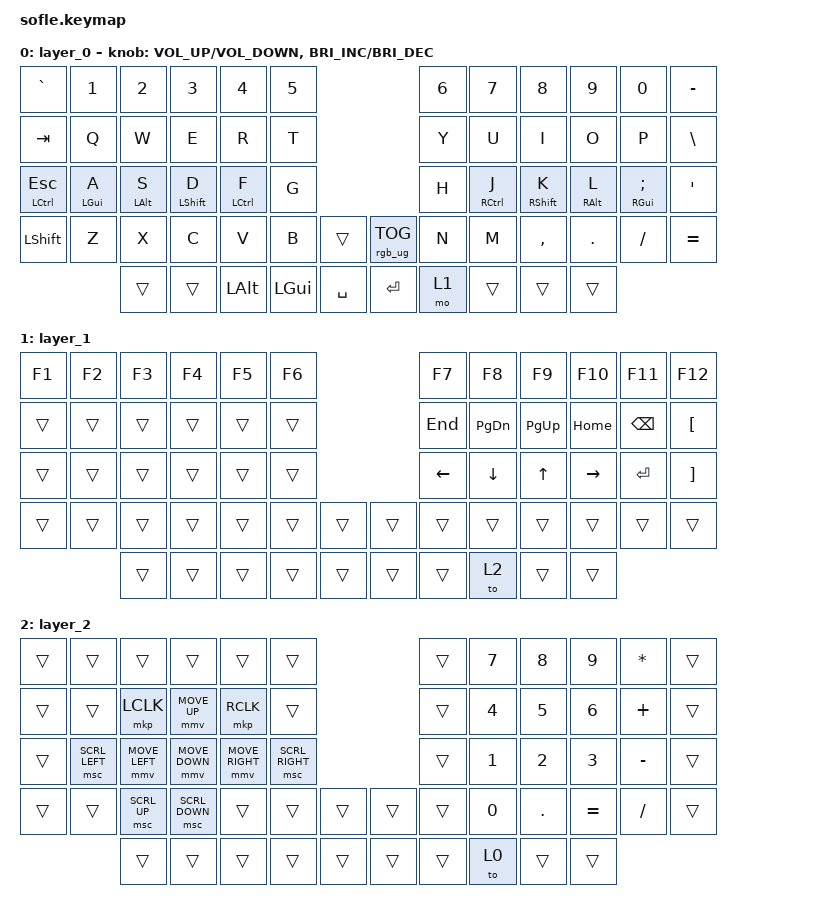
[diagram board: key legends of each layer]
/*
 * Copyright (c) 2020 The ZMK Contributors
 *
 * SPDX-License-Identifier: MIT
 */

#include <behaviors.dtsi>
#include <dt-bindings/zmk/bt.h>
#include <dt-bindings/zmk/rgb.h>
#include <dt-bindings/zmk/backlight.h>
#include <dt-bindings/zmk/ext_power.h>
#include <dt-bindings/zmk/keys.h>
#include <dt-bindings/zmk/outputs.h>
#include <dt-bindings/zmk/pointing.h>

/ {
    behaviors {
        hml: hml {
            compatible = "zmk,behavior-hold-tap";
            label = "HML";
            bindings = <&kp>, <&kp>;

            #binding-cells = <2>;
            tapping-term-ms = <180>;
            quick-tap-ms = <100>;
            flavor = "balanced";
            hold-trigger-on-release;
            require-prior-idle-ms = <120>;
        };

        hmr: hmr {
            compatible = "zmk,behavior-hold-tap";
            label = "HMR";
            bindings = <&kp>, <&kp>;

            #binding-cells = <2>;
            tapping-term-ms = <180>;
            quick-tap-ms = <100>;
            flavor = "balanced";
            hold-trigger-on-release;
            require-prior-idle-ms = <120>;
        };
    };

    keymap {
        compatible = "zmk,keymap";

        layer_0 {
            bindings = <
&kp GRAVE          &kp N1           &kp N2           &kp N3             &kp N4               &kp N5                                  &kp N6  &kp N7                &kp N8              &kp N9            &kp N0               &kp MINUS
&kp TAB            &kp Q            &kp W            &kp E              &kp R                &kp T                                   &kp Y   &kp U                 &kp I               &kp O             &kp P                &kp BSLH
&hml LCTRL ESCAPE  &hml LEFT_GUI A  &hml LEFT_ALT S  &hml LEFT_SHIFT D  &hml LEFT_CONTROL F  &kp G                                   &kp H   &hmr RIGHT_CONTROL J  &hmr RIGHT_SHIFT K  &hmr RIGHT_ALT L  &hmr RIGHT_GUI SEMI  &kp APOS
&kp LSHFT          &kp Z            &kp X            &kp C              &kp V                &kp B     &trans       &rgb_ug RGB_TOG  &kp N   &kp M                 &kp COMMA           &kp DOT           &kp FSLH             &kp EQUAL
                                    &trans           &trans             &kp LALT             &kp LGUI  &kp SPACE    &kp ENTER        &mo 1   &trans                &trans              &trans
            >;

            sensor-bindings =
                <&inc_dec_kp C_VOLUME_UP C_VOLUME_DOWN>,
                <&inc_dec_kp C_BRI_INC C_BRI_DEC>;
        };

        layer_1 {
            bindings = <
&kp F1  &kp F2  &kp F3  &kp F4  &kp F5  &kp F6                    &kp F7    &kp F8         &kp F9       &kp F10    &kp F11        &kp F12
&trans  &trans  &trans  &trans  &trans  &trans                    &kp END   &kp PAGE_DOWN  &kp PAGE_UP  &kp HOME   &kp BACKSPACE  &kp LBKT
&trans  &trans  &trans  &trans  &trans  &trans                    &kp LEFT  &kp DOWN       &kp UP       &kp RIGHT  &kp ENTER      &kp RBKT
&trans  &trans  &trans  &trans  &trans  &trans  &trans    &trans  &trans    &trans         &trans       &trans     &trans         &trans
                &trans  &trans  &trans  &trans  &trans    &trans  &trans    &to 2          &trans       &trans
            >;
        };

        layer_2 {
            bindings = <
&trans  &trans          &trans          &trans          &trans           &trans                             &trans  &kp N7  &kp N8   &kp N9     &kp STAR   &trans
&trans  &trans          &mkp LCLK       &mmv MOVE_UP    &mkp RCLK        &trans                             &trans  &kp N4  &kp N5   &kp N6     &kp PLUS   &trans
&trans  &msc SCRL_LEFT  &mmv MOVE_LEFT  &mmv MOVE_DOWN  &mmv MOVE_RIGHT  &msc SCRL_RIGHT                    &trans  &kp N1  &kp N2   &kp N3     &kp MINUS  &trans
&trans  &trans          &msc SCRL_UP    &msc SCRL_DOWN  &trans           &trans           &trans    &trans  &trans  &kp N0  &kp DOT  &kp EQUAL  &kp FSLH   &trans
                        &trans          &trans          &trans           &trans           &trans    &trans  &trans  &to 0   &trans   &trans
            >;
        };
    };
};
